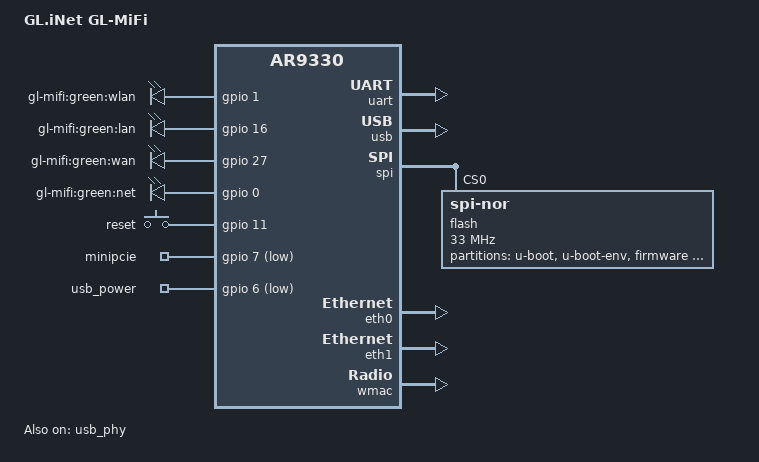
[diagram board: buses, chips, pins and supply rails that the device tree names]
// SPDX-License-Identifier: GPL-2.0-or-later OR MIT

#include "ar9330_glinet.dtsi"

#include <dt-bindings/gpio/gpio.h>
#include <dt-bindings/input/input.h>

/ {
	compatible = "glinet,gl-mifi", "qca,ar9330";
	model = "GL.iNet GL-MiFi";

    aliases {
        serial0 = &uart;
    };

    gl_hw {
        compatible = "gl-hw-info";

        #address-cells = <1>;
        #size-cells = <1>;
        model = "mifi";
        wan = "eth0";
        lan = "eth1";
        build-in-modem = "1-1.2";
        reset-button = "gpio-11";
        usb-port = "1-1.3";
        factory_data {
            device_mac = <&art 0>;
            device_ddns = <&art 0x10>;
            device_sn_bak = <&art 0x20>;
            device_sn = <&art 0x30>;
            country_code = <&art 0x88>;
        };
    };

    leds {
		compatible = "gpio-leds";

		wlan {
			label = "gl-mifi:green:wlan";
			gpios = <&gpio 1 GPIO_ACTIVE_HIGH>;
			linux,default-trigger = "phy0tpt";
		};

		lan {
			label = "gl-mifi:green:lan";
			gpios = <&gpio 16 GPIO_ACTIVE_HIGH>;
		};

		wan {
			label = "gl-mifi:green:wan";
			gpios = <&gpio 27 GPIO_ACTIVE_HIGH>;
		};

		net {
			label = "gl-mifi:green:net";
			gpios = <&gpio 0 GPIO_ACTIVE_HIGH>;
		};
	};

	keys {
		compatible = "gpio-keys";

		reset {
			label = "reset";
			linux,code = <KEY_RESTART>;
			gpios = <&gpio 11 GPIO_ACTIVE_HIGH>;
			debounce-interval = <60>;
		};
	};

	gpio-export {
		compatible = "gpio-export";

		minipcie {
			gpio-export,name = "minipcie";
			gpio-export,output = <0>;
			gpios = <&gpio 7 GPIO_ACTIVE_LOW>;
		};
		gpio_usb_power {
			gpio-export,name = "usb_power";
			gpio-export,output = <0>;
			gpios = <&gpio 6 GPIO_ACTIVE_LOW>;
		};
	};
};

&uart {
	status = "okay";
};

&usb {
	status = "okay";
    #address-cells = <1>;
    #size-cells = <0>;

    hub_port: port@1 {
        reg = <1>;
        #trigger-source-cells = <0>;
    };
};

&usb_phy {
	status = "okay";
};

&spi {
	status = "okay";

	flash@0 {
		compatible = "jedec,spi-nor";
		spi-max-frequency = <33000000>;
		reg = <0>;

		partitions {
			compatible = "fixed-partitions";
			#address-cells = <1>;
			#size-cells = <1>;

			partition@0 {
				label = "u-boot";
				reg = <0x000000 0x040000>;
				read-only;
			};

			partition@40000 {
				label = "u-boot-env";
				reg = <0x040000 0x010000>;
			};

			partition@50000 {
				compatible = "denx,uimage";
				label = "firmware";
				reg = <0x050000 0xfa0000>;
			};

			art: partition@ff0000 {
				label = "art";
				reg = <0xff0000 0x010000>;
				read-only;
			};
		};
	};
};

&eth0 {
	status = "okay";

	mtd-mac-address = <&art 0x0>;
    ifname = "eth0";
};

&eth1 {
	status = "okay";

	mtd-mac-address = <&art 0x0>;
    ifname = "eth1";

	gmac-config {
		device = <&gmac>;

		switch-phy-addr-swap = <0>;
		switch-phy-swap = <0>;
	};
};


&wmac {
	status = "okay";

	mtd-cal-data = <&art 0x1000>;
	mtd-mac-address = <&art 0x0>;
};
